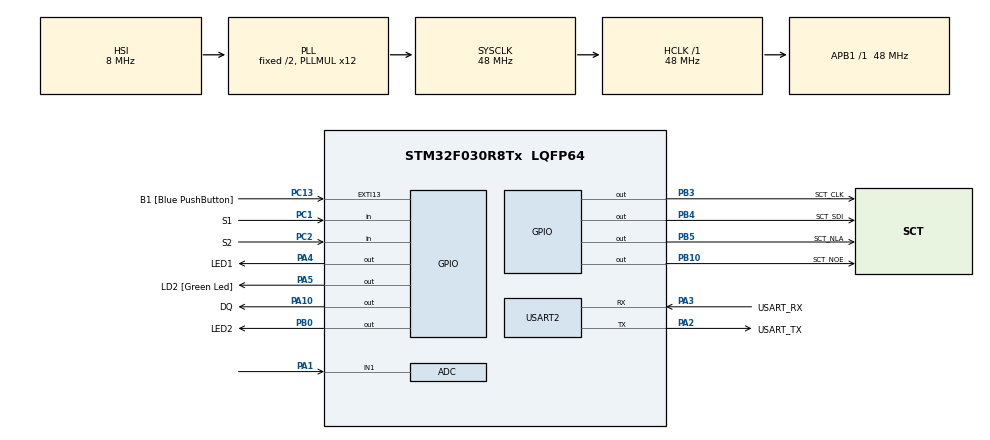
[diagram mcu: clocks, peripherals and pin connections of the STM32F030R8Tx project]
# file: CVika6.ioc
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ADC.ContinuousConvMode=ENABLE
ADC.Overrun=ADC_OVR_DATA_OVERWRITTEN
ADC.Resolution=ADC_RESOLUTION_10B
Mcu.Family=STM32F0
Mcu.Name=STM32F030R8Tx
Mcu.Package=LQFP64
PA1.Mode=IN1
PA1.Signal=ADC_IN1
PA10.GPIO_Label=DQ
PA10.GPIO_ModeDefaultOutputPP=GPIO_MODE_OUTPUT_OD
PA10.GPIO_PuPd=GPIO_NOPULL
PA10.PinState=GPIO_PIN_SET
PA10.Signal=GPIO_Output
PA13.GPIO_Label=TMS
PA13.Mode=Serial_Wire
PA13.Signal=SYS_SWDIO
PA14.GPIO_Label=TCK
PA14.Mode=Serial_Wire
PA14.Signal=SYS_SWCLK
PA2.GPIO_Label=USART_TX
PA2.GPIO_Mode=GPIO_MODE_AF_PP
PA2.GPIO_PuPd=GPIO_NOPULL
PA2.GPIO_Speed=GPIO_SPEED_FREQ_LOW
PA2.Mode=Asynchronous
PA2.Signal=USART2_TX
PA3.GPIO_Label=USART_RX
PA3.GPIO_Mode=GPIO_MODE_AF_PP
PA3.GPIO_PuPd=GPIO_NOPULL
PA3.GPIO_Speed=GPIO_SPEED_FREQ_LOW
PA3.Mode=Asynchronous
PA3.Signal=USART2_RX
PA4.GPIO_Label=LED1
PA4.Signal=GPIO_Output
PA5.GPIO_Label=LD2 [Green Led]
PA5.GPIO_Mode=GPIO_MODE_OUTPUT_PP
PA5.GPIO_PuPd=GPIO_NOPULL
PA5.GPIO_Speed=GPIO_SPEED_FREQ_LOW
PA5.Signal=GPIO_Output
PB0.GPIO_Label=LED2
PB0.Signal=GPIO_Output
PB10.GPIO_Label=SCT_NOE
PB10.Signal=GPIO_Output
PB3.GPIO_Label=SCT_CLK
PB3.Signal=GPIO_Output
PB4.GPIO_Label=SCT_SDI
PB4.Signal=GPIO_Output
PB5.GPIO_Label=SCT_NLA
PB5.Signal=GPIO_Output
PC1.GPIO_Label=S1
PC1.GPIO_PuPd=GPIO_PULLUP
PC1.Signal=GPIO_Input
PC13.GPIO_Label=B1 [Blue PushButton]
PC13.GPIO_ModeDefaultEXTI=GPIO_MODE_IT_FALLING
PC13.Signal=GPXTI13
PC14-OSC32_IN.Mode=LSE-External-Oscillator
PC14-OSC32_IN.Signal=RCC_OSC32_IN
PC15-OSC32_OUT.Mode=LSE-External-Oscillator
PC15-OSC32_OUT.Signal=RCC_OSC32_OUT
PC2.GPIO_Label=S2
PC2.GPIO_PuPd=GPIO_PULLUP
PC2.Signal=GPIO_Input
PF0-OSC_IN.Mode=HSE-External-Clock-Source
PF0-OSC_IN.Signal=RCC_OSC_IN
PF1-OSC_OUT.Signal=RCC_OSC_OUT
ProjectManager.HeapSize=0x200
ProjectManager.StackSize=0x400
ProjectManager.TargetToolchain=STM32CubeIDE
RCC.AHBFreq_Value=48000000
RCC.APB1Freq_Value=48000000
RCC.APB1TimFreq_Value=48000000
RCC.HCLKFreq_Value=48000000
RCC.PLLMUL=RCC_PLL_MUL12
RCC.SYSCLKFreq_VALUE=48000000
RCC.SYSCLKSource=RCC_SYSCLKSOURCE_PLLCLK
USART2.VirtualMode-Asynchronous=VM_ASYNC
board=NUCLEO-F030R8

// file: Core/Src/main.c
/* USER CODE BEGIN Header */
/**
  ******************************************************************************
  * @file           : main.c
  * @brief          : Main program body
  ******************************************************************************
  * @attention
  *
  * Copyright (c) 2024 STMicroelectronics.
  * All rights reserved.
  *
  * This software is licensed under terms that can be found in the LICENSE file
  * in the root directory of this software component.
  * If no LICENSE file comes with this software, it is provided AS-IS.
  *
  ******************************************************************************
  */
/* USER CODE END Header */
#include "main.h"

/* USER CODE BEGIN Includes */
#include "1wire.h"
#include "sct.h"
/* USER CODE END Includes */

/* USER CODE BEGIN PTD */
#define TIME 400
/* USER CODE END PTD */

ADC_HandleTypeDef hadc;

UART_HandleTypeDef huart2;

/* USER CODE BEGIN PV */
int16_t data[] = {
#include "data.dlm"
};
volatile uint32_t Tick;

/* USER CODE END PV */

void SystemClock_Config(void);
static void MX_GPIO_Init(void);
static void MX_USART2_UART_Init(void);
static void MX_ADC_Init(void);

int main(void)
{

  /* MCU Configuration--------------------------------------------------------*/

  /* Reset of all peripherals, Initializes the Flash interface and the Systick. */
  HAL_Init();

  /* Configure the system clock */
  SystemClock_Config();

  /* Initialize all configured peripherals */
  MX_GPIO_Init();
  MX_USART2_UART_Init();
  MX_ADC_Init();
  /* USER CODE BEGIN 2 */
  OWInit();
  sct_init();
  HAL_ADCEx_Calibration_Start(&hadc);
  HAL_ADC_Start(&hadc);
  /* USER CODE END 2 */

  /* Infinite loop */
  /* USER CODE BEGIN WHILE */
  while (1)
  {

	  int16_t result;
	  Tick = HAL_GetTick();
	  uint32_t lastTick=0;
	  uint8_t convert = 0;

	  static enum {DS, NTS } state;

	  uint8_t s1, s2;

	  s1=HAL_GPIO_ReadPin(S1_GPIO_Port, S1_Pin);
	  s2=HAL_GPIO_ReadPin(S2_GPIO_Port, S2_Pin);

	 	  if (!s1 && s2){
			  HAL_GPIO_WritePin(LED1_GPIO_Port, LED1_Pin, 0);
			  HAL_GPIO_WritePin(LED2_GPIO_Port, LED2_Pin, 1);
			  state = DS;
	 	  }

	 		 if (s1 && !s2){
				  HAL_GPIO_WritePin(LED2_GPIO_Port, LED2_Pin, 0);
				  HAL_GPIO_WritePin(LED1_GPIO_Port, LED1_Pin, 1);
				  state=NTS;
	 		 }
	 	  switch(state)
	 	  {

			  case DS:

				  if (!convert){
				 		convert = 1;
				 		OWConvertAll();
				 	  }

				  if(Tick>TIME+lastTick){
					  lastTick=Tick;
					  int16_t value;
					  if(OWReadTemperature(&value)) {
						  sct_value(value / 10,0);
						  convert =0;
					  }
				  }

				  break;
			  case NTS:

				  if(Tick>TIME+lastTick){
					  lastTick=Tick;
					  result = HAL_ADC_GetValue(&hadc);
					  sct_value(data[result],0);
				  }

				 break;
	 	  }

	  /*
	  OWConvertAll();
	  HAL_Delay(CONVERT_T_DELAY);

	  int16_t value;
	  if(OWReadTemperature(&value)) {
		  sct_value(value / 10,0);
	  } */

    /* USER CODE END WHILE */

  }
}

void SystemClock_Config(void)
{
  RCC_OscInitTypeDef RCC_OscInitStruct = {0};
  RCC_ClkInitTypeDef RCC_ClkInitStruct = {0};

  /** Initializes the RCC Oscillators according to the specified parameters
  * in the RCC_OscInitTypeDef structure.
  */
  RCC_OscInitStruct.OscillatorType = RCC_OSCILLATORTYPE_HSI|RCC_OSCILLATORTYPE_HSI14;
  RCC_OscInitStruct.HSIState = RCC_HSI_ON;
  RCC_OscInitStruct.HSI14State = RCC_HSI14_ON;
  RCC_OscInitStruct.HSICalibrationValue = RCC_HSICALIBRATION_DEFAULT;
  RCC_OscInitStruct.HSI14CalibrationValue = 16;
  RCC_OscInitStruct.PLL.PLLState = RCC_PLL_ON;
  RCC_OscInitStruct.PLL.PLLSource = RCC_PLLSOURCE_HSI;
  RCC_OscInitStruct.PLL.PLLMUL = RCC_PLL_MUL12;
  RCC_OscInitStruct.PLL.PREDIV = RCC_PREDIV_DIV1;
  if (HAL_RCC_OscConfig(&RCC_OscInitStruct) != HAL_OK)
  {
    Error_Handler();
  }

  /** Initializes the CPU, AHB and APB buses clocks
  */
  RCC_ClkInitStruct.ClockType = RCC_CLOCKTYPE_HCLK|RCC_CLOCKTYPE_SYSCLK
                              |RCC_CLOCKTYPE_PCLK1;
  RCC_ClkInitStruct.SYSCLKSource = RCC_SYSCLKSOURCE_PLLCLK;
  RCC_ClkInitStruct.AHBCLKDivider = RCC_SYSCLK_DIV1;
  RCC_ClkInitStruct.APB1CLKDivider = RCC_HCLK_DIV1;

  if (HAL_RCC_ClockConfig(&RCC_ClkInitStruct, FLASH_LATENCY_1) != HAL_OK)
  {
    Error_Handler();
  }
}

static void MX_ADC_Init(void)
{

  ADC_ChannelConfTypeDef sConfig = {0};

  /** Configure the global features of the ADC (Clock, Resolution, Data Alignment and number of conversion)
  */
  hadc.Instance = ADC1;
  hadc.Init.ClockPrescaler = ADC_CLOCK_ASYNC_DIV1;
  hadc.Init.Resolution = ADC_RESOLUTION_10B;
  hadc.Init.DataAlign = ADC_DATAALIGN_RIGHT;
  hadc.Init.ScanConvMode = ADC_SCAN_DIRECTION_FORWARD;
  hadc.Init.EOCSelection = ADC_EOC_SINGLE_CONV;
  hadc.Init.LowPowerAutoWait = DISABLE;
  hadc.Init.LowPowerAutoPowerOff = DISABLE;
  hadc.Init.ContinuousConvMode = ENABLE;
  hadc.Init.DiscontinuousConvMode = DISABLE;
  hadc.Init.ExternalTrigConv = ADC_SOFTWARE_START;
  hadc.Init.ExternalTrigConvEdge = ADC_EXTERNALTRIGCONVEDGE_NONE;
  hadc.Init.DMAContinuousRequests = DISABLE;
  hadc.Init.Overrun = ADC_OVR_DATA_OVERWRITTEN;
  if (HAL_ADC_Init(&hadc) != HAL_OK)
  {
    Error_Handler();
  }

  /** Configure for the selected ADC regular channel to be converted.
  */
  sConfig.Channel = ADC_CHANNEL_1;
  sConfig.Rank = ADC_RANK_CHANNEL_NUMBER;
  sConfig.SamplingTime = ADC_SAMPLETIME_1CYCLE_5;
  if (HAL_ADC_ConfigChannel(&hadc, &sConfig) != HAL_OK)
  {
    Error_Handler();
  }

}

static void MX_USART2_UART_Init(void)
{

  huart2.Instance = USART2;
  huart2.Init.BaudRate = 38400;
  huart2.Init.WordLength = UART_WORDLENGTH_8B;
  huart2.Init.StopBits = UART_STOPBITS_1;
  huart2.Init.Parity = UART_PARITY_NONE;
  huart2.Init.Mode = UART_MODE_TX_RX;
  huart2.Init.HwFlowCtl = UART_HWCONTROL_NONE;
  huart2.Init.OverSampling = UART_OVERSAMPLING_16;
  huart2.Init.OneBitSampling = UART_ONE_BIT_SAMPLE_DISABLE;
  huart2.AdvancedInit.AdvFeatureInit = UART_ADVFEATURE_NO_INIT;
  if (HAL_UART_Init(&huart2) != HAL_OK)
  {
    Error_Handler();
  }

}

static void MX_GPIO_Init(void)
{
  GPIO_InitTypeDef GPIO_InitStruct = {0};

  /* GPIO Ports Clock Enable */
  __HAL_RCC_GPIOC_CLK_ENABLE();
  __HAL_RCC_GPIOF_CLK_ENABLE();
  __HAL_RCC_GPIOA_CLK_ENABLE();
  __HAL_RCC_GPIOB_CLK_ENABLE();

  /*Configure GPIO pin Output Level */
  HAL_GPIO_WritePin(GPIOA, LED1_Pin|LD2_Pin, GPIO_PIN_RESET);

  /*Configure GPIO pin Output Level */
  HAL_GPIO_WritePin(GPIOB, LED2_Pin|SCT_NOE_Pin|SCT_CLK_Pin|SCT_SDI_Pin
                          |SCT_NLA_Pin, GPIO_PIN_RESET);

  /*Configure GPIO pin Output Level */
  HAL_GPIO_WritePin(DQ_GPIO_Port, DQ_Pin, GPIO_PIN_SET);

  /*Configure GPIO pin : B1_Pin */
  GPIO_InitStruct.Pin = B1_Pin;
  GPIO_InitStruct.Mode = GPIO_MODE_IT_FALLING;
  GPIO_InitStruct.Pull = GPIO_NOPULL;
  HAL_GPIO_Init(B1_GPIO_Port, &GPIO_InitStruct);

  /*Configure GPIO pins : S1_Pin S2_Pin */
  GPIO_InitStruct.Pin = S1_Pin|S2_Pin;
  GPIO_InitStruct.Mode = GPIO_MODE_INPUT;
  GPIO_InitStruct.Pull = GPIO_PULLUP;
  HAL_GPIO_Init(GPIOC, &GPIO_InitStruct);

  /*Configure GPIO pins : LED1_Pin LD2_Pin */
  GPIO_InitStruct.Pin = LED1_Pin|LD2_Pin;
  GPIO_InitStruct.Mode = GPIO_MODE_OUTPUT_PP;
  GPIO_InitStruct.Pull = GPIO_NOPULL;
  GPIO_InitStruct.Speed = GPIO_SPEED_FREQ_LOW;
  HAL_GPIO_Init(GPIOA, &GPIO_InitStruct);

  /*Configure GPIO pins : LED2_Pin SCT_NOE_Pin SCT_CLK_Pin SCT_SDI_Pin
                           SCT_NLA_Pin */
  GPIO_InitStruct.Pin = LED2_Pin|SCT_NOE_Pin|SCT_CLK_Pin|SCT_SDI_Pin
                          |SCT_NLA_Pin;
  GPIO_InitStruct.Mode = GPIO_MODE_OUTPUT_PP;
  GPIO_InitStruct.Pull = GPIO_NOPULL;
  GPIO_InitStruct.Speed = GPIO_SPEED_FREQ_LOW;
  HAL_GPIO_Init(GPIOB, &GPIO_InitStruct);

  /*Configure GPIO pin : DQ_Pin */
  GPIO_InitStruct.Pin = DQ_Pin;
  GPIO_InitStruct.Mode = GPIO_MODE_OUTPUT_OD;
  GPIO_InitStruct.Pull = GPIO_NOPULL;
  GPIO_InitStruct.Speed = GPIO_SPEED_FREQ_LOW;
  HAL_GPIO_Init(DQ_GPIO_Port, &GPIO_InitStruct);

}

void Error_Handler(void)
{
  __disable_irq();
  while (1)
  {
  }
}
